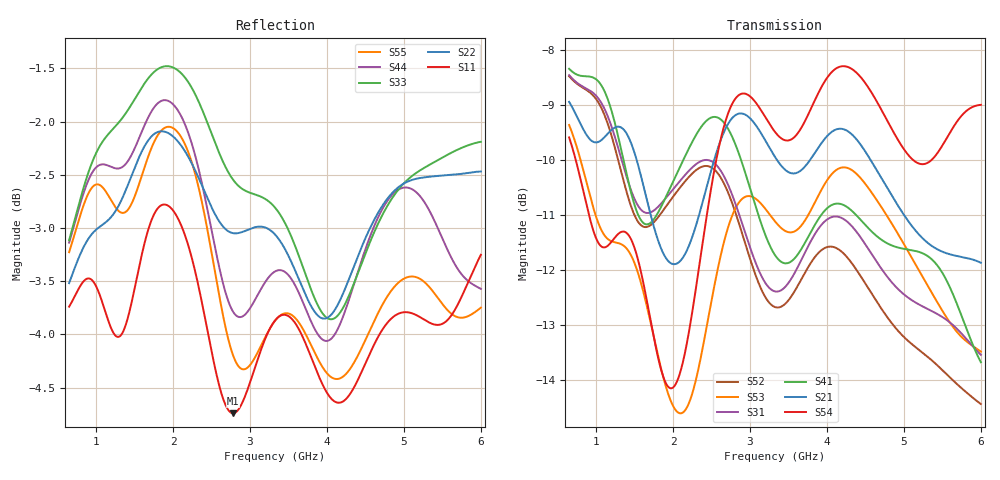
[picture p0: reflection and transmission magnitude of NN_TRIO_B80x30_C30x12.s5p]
! IGNION VIRTUAL ANTENNA LIBRARY
! NN_TRIO_B80x30_C30x12
! Virtual Antenna™ TRIO mXTEND™: NN03-310 30.0mm x 3.0mm x 1.0mm
! https://ignion.io/product/trio-mxtend/
! Board: 80mm x 30mm
! Clearance Area: 30mm x 12mm
! Feeding line: straight line; 9mm x 1mm
! Applications: Smartphone, Fleet management, IoT
! Frequency range 0.65GHz to 6GHz, step ~5MHz
! Number of ports 5
! This product and its use are protected by at least one or more of the following patents and
! patent applications PAT. US 2020/0176855 A1; WO 2019/008171 A1; and other domestic and international
! patents pending. Additional information about patents related to this product is available at
! https://ignion.io/files/Patent-list-NN.pdf, all rights reserved. Copyright, Ignion 2021.
! Need more help? Your platform is much different than these examples in the manual? Use our
! Fast Track service (https://ignion.io/fast-track/), for free, and get a personalized antenna design in
! just 24 hours.
! Touchstone port 1 = CST MWS port 1 ("Series Feeding Port 1")
! Touchstone port 2 = CST MWS port 2 ("Series in-Trio Port 1")
! Touchstone port 3 = CST MWS port 3 ("Series in-Trio Port 2")
! Touchstone port 4 = CST MWS port 4 ("Series Port in Feeding line of Port 2")
! Touchstone port 5 = CST MWS port 5 ("Series Feeding Port 2")
! CST MICROWAVE STUDIO 2019
# GHz S MA R 50
! Nport = 5
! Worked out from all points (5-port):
!   1001 points, 650 MHz to 6 GHz, reference 50 ohm
!   strongest paths, dB at 650 MHz, 1.988 GHz, 3.325 GHz, 4.662 GHz, 6 GHz:
!     S54: -9.6, -14.1, -9.5, -9.0, -9.0
!     S21: -8.9, -11.9, -9.9, -10.2, -11.9
!     S41: -8.3, -10.4, -11.7, -11.4, -13.7
!     S31: -8.5, -10.6, -12.4, -11.9, -13.5
!     S53: -9.4, -14.4, -11.1, -10.8, -13.5
!     S52: -8.5, -10.7, -12.7, -12.6, -14.4
!   lowest |S11| = -4.7 dB at 2.779 GHz (marker M1), VSWR 3.75, Z = 152 - j70.6 ohm
!   |S11| at or under -10 dB: nowhere
